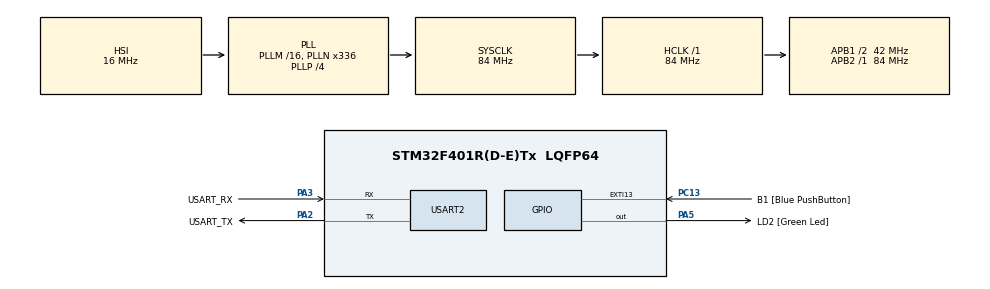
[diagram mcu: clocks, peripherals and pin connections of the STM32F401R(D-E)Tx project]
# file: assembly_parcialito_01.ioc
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Mcu.Family=STM32F4
Mcu.Name=STM32F401R(D-E)Tx
Mcu.Package=LQFP64
NVIC.PriorityGroup=NVIC_PRIORITYGROUP_0
PA13.GPIO_Label=TMS
PA13.Mode=Serial_Wire
PA13.Signal=SYS_JTMS-SWDIO
PA14.GPIO_Label=TCK
PA14.Mode=Serial_Wire
PA14.Signal=SYS_JTCK-SWCLK
PA2.GPIO_Label=USART_TX
PA2.GPIO_Mode=GPIO_MODE_AF_PP
PA2.GPIO_PuPd=GPIO_NOPULL
PA2.GPIO_Speed=GPIO_SPEED_FREQ_LOW
PA2.Mode=Asynchronous
PA2.Signal=USART2_TX
PA3.GPIO_Label=USART_RX
PA3.GPIO_Mode=GPIO_MODE_AF_PP
PA3.GPIO_PuPd=GPIO_NOPULL
PA3.GPIO_Speed=GPIO_SPEED_FREQ_LOW
PA3.Mode=Asynchronous
PA3.Signal=USART2_RX
PA5.GPIO_Label=LD2 [Green Led]
PA5.GPIO_Mode=GPIO_MODE_OUTPUT_PP
PA5.GPIO_PuPd=GPIO_NOPULL
PA5.GPIO_Speed=GPIO_SPEED_FREQ_LOW
PA5.Signal=GPIO_Output
PB3.GPIO_Label=SWO
PB3.Signal=SYS_JTDO-SWO
PC13-ANTI_TAMP.GPIO_Label=B1 [Blue PushButton]
PC13-ANTI_TAMP.GPIO_ModeDefaultEXTI=GPIO_MODE_IT_FALLING
PC13-ANTI_TAMP.GPIO_PuPd=GPIO_NOPULL
PC13-ANTI_TAMP.Signal=GPXTI13
PC14-OSC32_IN.Mode=LSE-External-Oscillator
PC14-OSC32_IN.Signal=RCC_OSC32_IN
PC15-OSC32_OUT.Mode=LSE-External-Oscillator
PC15-OSC32_OUT.Signal=RCC_OSC32_OUT
PH0\ -\ OSC_IN.Mode=HSE-External-Clock-Source
PH0\ -\ OSC_IN.Signal=RCC_OSC_IN
PH1\ -\ OSC_OUT.Mode=HSE-External-Clock-Source
PH1\ -\ OSC_OUT.Signal=RCC_OSC_OUT
ProjectManager.HeapSize=0x200
ProjectManager.StackSize=0x400
ProjectManager.TargetToolchain=STM32CubeIDE
RCC.48MHZClocksFreq_Value=48000000
RCC.AHBFreq_Value=84000000
RCC.APB1CLKDivider=RCC_HCLK_DIV2
RCC.APB1Freq_Value=42000000
RCC.APB1TimFreq_Value=84000000
RCC.APB2Freq_Value=84000000
RCC.APB2TimFreq_Value=84000000
RCC.CortexFreq_Value=84000000
RCC.HCLKFreq_Value=84000000
RCC.HSE_VALUE=8000000
RCC.HSI_VALUE=16000000
RCC.PLLN=336
RCC.PLLP=RCC_PLLP_DIV4
RCC.PLLQ=7
RCC.SYSCLKFreq_VALUE=84000000
RCC.SYSCLKSource=RCC_SYSCLKSOURCE_PLLCLK
RCC.VCOOutputFreq_Value=336000000
USART2.VirtualMode=VM_ASYNC
board=NUCLEO-F401RE

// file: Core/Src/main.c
/* USER CODE BEGIN Header */
/**
  ******************************************************************************
  * @file           : main.c
  * @brief          : Main program body
  ******************************************************************************
  * @attention
  *
  * <h2><center>&copy; Copyright (c) 2021 STMicroelectronics.
  * All rights reserved.</center></h2>
  *
  * This software component is licensed by ST under BSD 3-Clause license,
  * the "License"; You may not use this file except in compliance with the
  * License. You may obtain a copy of the License at:
  *                        opensource.org/licenses/BSD-3-Clause
  *
  ******************************************************************************
  */
/* USER CODE END Header */
#include "main.h"

/* USER CODE BEGIN Includes */
#include "tasks.h"
#include <stdio.h>
#include <string.h>

/* USER CODE END Includes */

 UART_HandleTypeDef huart2;

/* USER CODE BEGIN PV */

#ifdef __GNUC__
/* With GCC, small printf (option LD Linker->Libraries->Small printf
   set to 'Yes') calls __io_putchar() */
#define PUTCHAR_PROTOTYPE int __io_putchar(int ch)
#else
#define PUTCHAR_PROTOTYPE int fputc(int ch, FILE *f)
#endif /* __GNUC__ */

#ifdef __cplusplus
}
#endif

PUTCHAR_PROTOTYPE
{
	/* Place your implementation of fputc here */
     /* e.g. write a character to the USART2 and Loop until the end of transmission */
 	HAL_UART_Transmit(&huart2, (uint8_t *)&ch, 1, 0xFFFF);

 	return ch;
}

/* USER CODE END PV */

void SystemClock_Config(void);
static void MX_GPIO_Init(void);
static void MX_USART2_UART_Init(void);
/* USER CODE BEGIN PFP */

//	User Code Begin PFP => "C - Assembly Interface"

#if (TEST_X == TEST_1)	/* getLowerSigned => Signed Elements */

int32_t getLowerSigned (void *array, uint32_t sizeOfElements, uint16_t numberOfElements);

#endif

#if (TEST_X == TEST_2)	/* getLowerUnsigned => Unsigned Elements */

uint32_t getLowerUnsigned (void *array, uint32_t sizeOfElements, uint16_t numberOfElements);

#endif

//	User Code End PFP => "C - Assembly Interface"

/* USER CODE END PFP */

/* USER CODE BEGIN 0 */

//	User Data Begin PFP => "C - Assembly Interface"

#if (TEST_X == TEST_1)	/* getLowerSigned => Signed Elements */

int32_t arrayInt32[]	= {9, 7, 5, 3, 1, 0, -3, -2, -1, 2, 4, 6};
int16_t arrayInt16[]	= {   9, 7, 5, 3, 1,  0, -2, -1, 2, 4   };
int8_t	 arrayInt8[]	= {      9, 7, 5, 3,  1,  0, -1, 2      };

#endif

#if (TEST_X == TEST_2)	/* getLowerUnsigned => Unsigned Elements */

uint32_t arrayUint32[]	= {9, 7, 5, 3, 1, 0, 2, 4, 6, 8};
uint16_t arrayUint16[]	= {   9, 7, 5, 3, 1, 2, 4, 6   };
uint8_t	 arrayUint8[]	= {      9, 7, 5, 3, 2, 4      };

#endif

//	User Data End PFP => "C - Assembly Interface"

/* USER CODE END 0 */

int main(void)
{
  /* USER CODE BEGIN 1 */
	int32_t		lowerArrayInt;
	uint32_t	lowerArrayUint;

  /* USER CODE END 1 */

  /* MCU Configuration--------------------------------------------------------*/

  /* Reset of all peripherals, Initializes the Flash interface and the Systick. */
  HAL_Init();

  /* Configure the system clock */
  SystemClock_Config();

  /* Initialize all configured peripherals */
  MX_GPIO_Init();
  MX_USART2_UART_Init();
  /* USER CODE BEGIN 2 */

	printf("Project: assembly_parcialito_01\r\n\n");
  /* USER CODE END 2 */

  /* Infinite loop */
  while (1)
  {

    /* USER CODE BEGIN 3 */

		//	User Code Begin  Init & Test => "C - Assembly Interface"

	#if (TEST_X == TEST_1)		/* getLowerSigned => Signed Elements */

	printf("/* getLowerSigned => Signed Elements */\r\n");

	lowerArrayInt = getLowerSigned (arrayInt8,  sizeof(uint8_t),  (sizeof(arrayInt8) /sizeof(int8_t)));
	printf("   Lower = %8x (Hexa) = %i (Dec)\r\n", lowerArrayInt, lowerArrayInt);

	lowerArrayInt = getLowerSigned (arrayInt32, sizeof(int32_t), (sizeof(arrayInt32)/sizeof(int32_t)));
	printf("   Lower = %8x (Hexa) = %i (Dec)\r\n", lowerArrayInt, lowerArrayInt);

	lowerArrayInt = getLowerSigned (arrayInt16, sizeof(int16_t), (sizeof(arrayInt16)/sizeof(int16_t)));
	printf("   Lower = %8x (Hexa) = %i (Dec)\r\n", lowerArrayInt, lowerArrayInt);

	printf("\r\n");

	#endif

	#if (TEST_X == TEST_2)		/* getLowerUnsigned => Unsigned Elements */

	printf("/* getLowerUnsigned => Unsigned Elements */\r\n");

	lowerArrayUint = getLowerUnsigned (arrayUint32, sizeof(uint32_t), (sizeof(arrayUint32)/sizeof(uint32_t)));
	printf("   Lower = %8x (Hexa) = %i (Dec)\r\n", lowerArrayUint, lowerArrayUint);

	lowerArrayUint = getLowerUnsigned (arrayUint16, sizeof(uint16_t), (sizeof(arrayUint16)/sizeof(uint16_t)));
	printf("   Lower = %8x (Hexa) = %i (Dec)\r\n", lowerArrayUint, lowerArrayUint);

	lowerArrayUint = getLowerUnsigned (arrayUint8,  sizeof(uint8_t),  (sizeof(arrayUint8) /sizeof(uint8_t)));
	printf("   Lower = %8x (Hexa) = %i (Dec)\r\n", lowerArrayUint, lowerArrayUint);

	printf("\r\n");

	#endif

		// User Code End  Init & Test => "C - Assembly Interface"
  }
  /* USER CODE END 3 */
}

void SystemClock_Config(void)
{
  RCC_OscInitTypeDef RCC_OscInitStruct = {0};
  RCC_ClkInitTypeDef RCC_ClkInitStruct = {0};

  /** Configure the main internal regulator output voltage
  */
  __HAL_RCC_PWR_CLK_ENABLE();
  __HAL_PWR_VOLTAGESCALING_CONFIG(PWR_REGULATOR_VOLTAGE_SCALE2);

  /** Initializes the RCC Oscillators according to the specified parameters
  * in the RCC_OscInitTypeDef structure.
  */
  RCC_OscInitStruct.OscillatorType = RCC_OSCILLATORTYPE_HSI;
  RCC_OscInitStruct.HSIState = RCC_HSI_ON;
  RCC_OscInitStruct.HSICalibrationValue = RCC_HSICALIBRATION_DEFAULT;
  RCC_OscInitStruct.PLL.PLLState = RCC_PLL_ON;
  RCC_OscInitStruct.PLL.PLLSource = RCC_PLLSOURCE_HSI;
  RCC_OscInitStruct.PLL.PLLM = 16;
  RCC_OscInitStruct.PLL.PLLN = 336;
  RCC_OscInitStruct.PLL.PLLP = RCC_PLLP_DIV4;
  RCC_OscInitStruct.PLL.PLLQ = 7;
  if (HAL_RCC_OscConfig(&RCC_OscInitStruct) != HAL_OK)
  {
    Error_Handler();
  }

  /** Initializes the CPU, AHB and APB buses clocks
  */
  RCC_ClkInitStruct.ClockType = RCC_CLOCKTYPE_HCLK|RCC_CLOCKTYPE_SYSCLK
                              |RCC_CLOCKTYPE_PCLK1|RCC_CLOCKTYPE_PCLK2;
  RCC_ClkInitStruct.SYSCLKSource = RCC_SYSCLKSOURCE_PLLCLK;
  RCC_ClkInitStruct.AHBCLKDivider = RCC_SYSCLK_DIV1;
  RCC_ClkInitStruct.APB1CLKDivider = RCC_HCLK_DIV2;
  RCC_ClkInitStruct.APB2CLKDivider = RCC_HCLK_DIV1;

  if (HAL_RCC_ClockConfig(&RCC_ClkInitStruct, FLASH_LATENCY_2) != HAL_OK)
  {
    Error_Handler();
  }
}

static void MX_USART2_UART_Init(void)
{

  huart2.Instance = USART2;
  huart2.Init.BaudRate = 115200;
  huart2.Init.WordLength = UART_WORDLENGTH_8B;
  huart2.Init.StopBits = UART_STOPBITS_1;
  huart2.Init.Parity = UART_PARITY_NONE;
  huart2.Init.Mode = UART_MODE_TX_RX;
  huart2.Init.HwFlowCtl = UART_HWCONTROL_NONE;
  huart2.Init.OverSampling = UART_OVERSAMPLING_16;
  if (HAL_UART_Init(&huart2) != HAL_OK)
  {
    Error_Handler();
  }

}

static void MX_GPIO_Init(void)
{
  GPIO_InitTypeDef GPIO_InitStruct = {0};

  /* GPIO Ports Clock Enable */
  __HAL_RCC_GPIOC_CLK_ENABLE();
  __HAL_RCC_GPIOH_CLK_ENABLE();
  __HAL_RCC_GPIOA_CLK_ENABLE();
  __HAL_RCC_GPIOB_CLK_ENABLE();

  /*Configure GPIO pin Output Level */
  HAL_GPIO_WritePin(LD2_GPIO_Port, LD2_Pin, GPIO_PIN_RESET);

  /*Configure GPIO pin : B1_Pin */
  GPIO_InitStruct.Pin = B1_Pin;
  GPIO_InitStruct.Mode = GPIO_MODE_IT_FALLING;
  GPIO_InitStruct.Pull = GPIO_NOPULL;
  HAL_GPIO_Init(B1_GPIO_Port, &GPIO_InitStruct);

  /*Configure GPIO pin : LD2_Pin */
  GPIO_InitStruct.Pin = LD2_Pin;
  GPIO_InitStruct.Mode = GPIO_MODE_OUTPUT_PP;
  GPIO_InitStruct.Pull = GPIO_NOPULL;
  GPIO_InitStruct.Speed = GPIO_SPEED_FREQ_LOW;
  HAL_GPIO_Init(LD2_GPIO_Port, &GPIO_InitStruct);

}

void Error_Handler(void)
{
  __disable_irq();
  while (1)
  {
  }
}
